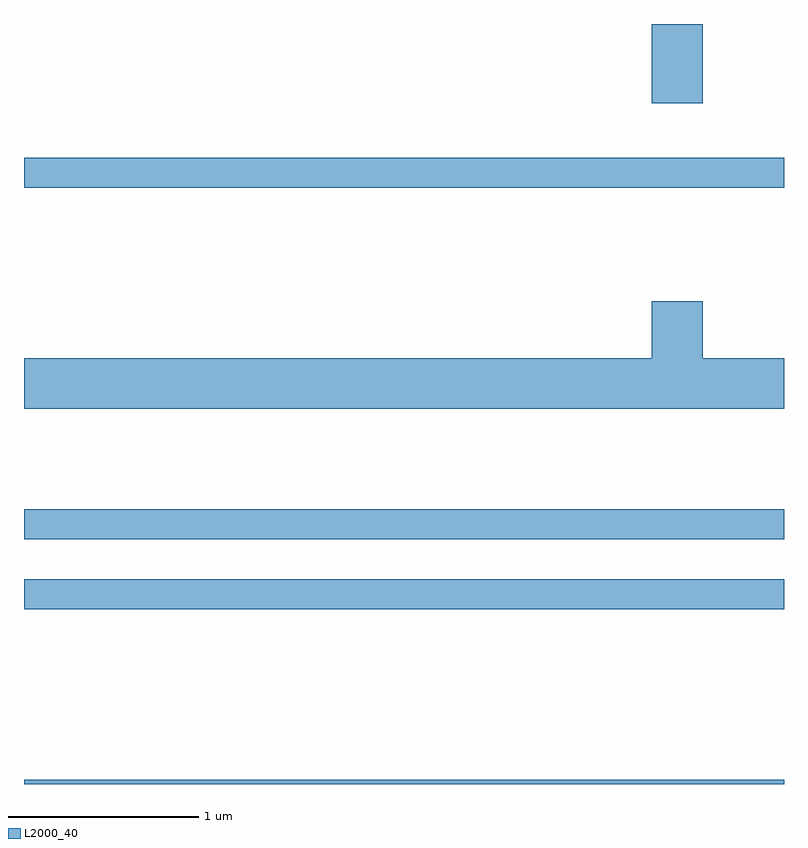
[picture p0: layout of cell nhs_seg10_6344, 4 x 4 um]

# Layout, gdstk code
import gdstk
lib = gdstk.Library(unit=1e-6, precision=1e-09)
def R(c, l, rs):  # rectangles x0, y0, x1, y1
    for r in rs: c.add(gdstk.rectangle(r[:2], r[2:], *l))
def P(c, l, *ps):  # polygons
    for p in ps: c.add(gdstk.Polygon(p, *l))
L2000_40 = (2000, 40)

nhs_seg10_6344 = lib.new_cell('nhs_seg10_6344')
R(nhs_seg10_6344, L2000_40, [(371.611,2198.522,375.611,2198.544), (371.611,2199.441,375.611,2199.599), (371.611,2199.811,375.611,2199.969), (371.611,2201.661,375.611,2201.819), (374.916,2202.106,375.184,2202.522)])
P(nhs_seg10_6344, L2000_40, [(375.611,2200.764),(375.184,2200.764),(375.184,2201.064),(374.916,2201.064),(374.916,2200.764),(371.611,2200.764),(371.611,2200.496),(375.611,2200.496)])

lib.write_gds('nhs_seg10_6344.gds')
